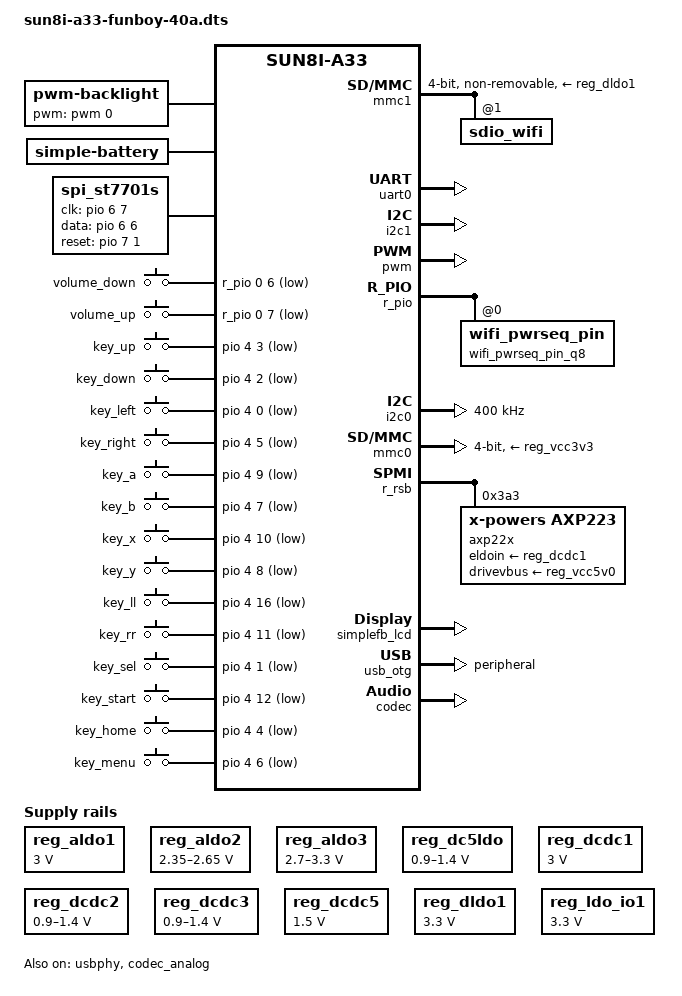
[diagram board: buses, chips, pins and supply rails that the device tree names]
/dts-v1/;
#include <dt-bindings/gpio/gpio.h>
#include <dt-bindings/input/input.h>
#include <dt-bindings/pwm/pwm.h>
#include "sun8i-a33.dtsi"
#include "sunxi-common-regulators.dtsi"

/ {
	aliases {
		serial0 = &uart0;
	};

	backlight: backlight {
		compatible = "pwm-backlight";
		pwms = <&pwm 0 50000 PWM_POLARITY_INVERTED>;
		brightness-levels = <0 10 20 30 40 50 60 70 80 90 100>;
		default-brightness-level = <8>;
	};

	chosen {
		stdout-path = "serial0:115200n8";
	};

	bat: battery {
		compatible = "simple-battery";
		constant_charge_current_max_microamp = <400000>;
	};

	st7701s {
		compatible = "spi_st7701s";
		cs-gpios = <&pio 6 10 GPIO_ACTIVE_HIGH>; //PG 10
		clk-gpios = <&pio 6 7 GPIO_ACTIVE_HIGH>;  //PG7
		data-gpios = <&pio 6 6 GPIO_ACTIVE_HIGH>;  //PG6
		reset-gpios = <&pio 7 1 GPIO_ACTIVE_HIGH>; /* PH1 */
		status = "okay";
	};

	wifi_pwrseq: wifi_pwrseq {
		compatible = "mmc-pwrseq-simple";
		pinctrl-names = "default";
		pinctrl-0 = <&wifi_pwrseq_pin_q8>;
		/* The esp8089 needs 200 ms after driving wifi-en high */
		post-power-on-delay-ms = <200>;
	};

	gpio-keys {
		compatible = "gpio-keys-polled";
		input-name = "gpio-keys";

		pinctrl-names = "default";
		pinctrl-0 = <&gpio_keys
					&gpio_key_l>;

		volume-down {
			label = "volume_down";
			gpios = <&r_pio 0 6 GPIO_ACTIVE_LOW>;
			linux,input-type = <1>;
			linux,code = <KEY_VOLUMEDOWN>;
		};

		volume-up {
			label = "volume_up";
			gpios = <&r_pio 0 7 GPIO_ACTIVE_LOW>;
			linux,input-type = <1>;
			linux,code = <KEY_VOLUMEUP>;
		};

		key-up {
			label = "key_up";
			gpios = <&pio 4 3 GPIO_ACTIVE_LOW>;
			linux,input-type = <1>;
			linux,code = <117>;
		};
		key-down {
			label = "key_down";
			gpios = <&pio 4 2 GPIO_ACTIVE_LOW>;
			linux,input-type = <1>;
			linux,code = <100>;
		};
		key-left {
			label = "key_left";
			gpios = <&pio 4 0 GPIO_ACTIVE_LOW>;
			linux,input-type = <1>;
			linux,code = <108>;
		};
		key-right {
			label = "key_right";
			gpios = <&pio 4 5 GPIO_ACTIVE_LOW>;
			linux,input-type = <1>;
			linux,code = <114>;
		};

		key-a {
			label = "key_a";
			gpios = <&pio 4 9 GPIO_ACTIVE_LOW>;
			linux,input-type = <1>;
			linux,code = <97>;
		};
		key-b {
			label = "key_b";
			gpios = <&pio 4 7 GPIO_ACTIVE_LOW>;
			linux,input-type = <1>;
			linux,code = <98>;
		};
		key-x {
			label = "key_x";
			gpios = <&pio 4 10 GPIO_ACTIVE_LOW>;
			linux,input-type = <1>;
			linux,code = <120>;//??109
		};
		key-y {
			label = "key_y";
			gpios = <&pio 4 8 GPIO_ACTIVE_LOW>;
			linux,input-type = <1>;
			linux,code = <121>;//? 110
		};
		key-ll {
			label = "key_ll";
			gpios = <&pio 4 16 GPIO_ACTIVE_LOW>;
			linux,input-type = <1>;
			linux,code = <109>;
		};

		key-rr {
			label = "key_rr";
			gpios = <&pio 4 11 GPIO_ACTIVE_LOW>;
			linux,input-type = <1>;
			linux,code = <110>;
		};

		key-sel {
			label = "key_sel";
			gpios = <&pio 4 1 GPIO_ACTIVE_LOW>;
			linux,input-type = <1>;
			linux,code = <107>;
		};
		key-start {
			label = "key_start";
			gpios = <&pio 4 12 GPIO_ACTIVE_LOW>;
			linux,input-type = <1>;
			linux,code = <115>;
		};
		key-home {
			label = "key_home";
			gpios = <&pio 4 4 GPIO_ACTIVE_LOW>;
			linux,input-type = <1>;
			linux,code = <102>;//home
		};
		key-menu {
			label = "key_menu";
			gpios = <&pio 4 6 GPIO_ACTIVE_LOW>;
			linux,input-type = <1>;
			linux,code = <139>; //menu
		};
	};
};

&mmc1 {
	pinctrl-names = "default";
	pinctrl-0 = <&mmc1_pins_a>;
	vmmc-supply = <&reg_dldo1>;
	mmc-pwrseq = <&wifi_pwrseq>;
	bus-width = <4>;
	non-removable;
	status = "okay";

	sdio_wifi: sdio_wifi@1 {
		reg = <1>;
	};
};

&uart0 {
	pinctrl-names = "default";
	pinctrl-0 = <&uart0_pins_b>;
	status = "okay";
};

&mmc1_pins_a {
	bias-pull-up;
};

&i2c1 {
	pinctrl-names = "default";
	pinctrl-0 = <&i2c1_pins_a>;
	status = "okay";
};

&pwm {
	pinctrl-names = "default";
	pinctrl-0 = <&pwm0_pins>;
	status = "okay";
};

&r_pio {
	wifi_pwrseq_pin_q8: wifi_pwrseq_pin@0 {
		pins = "PL11";
		function = "gpio_in";
		bias-pull-up;
	};
	gpio_key_l: gpio-key-l {
		pins = "PL6","PL7";
		function = "gpio_in";
		bias-pull-up;
	};
};

&i2c0 {
	clock-frequency = <400000>;
	pinctrl-names = "default";
	pinctrl-0 = <&i2c0_pins_a>;
	status = "okay";
};

&mmc0 {
	pinctrl-names = "default";
	pinctrl-names = "default";
	pinctrl-0 = <&mmc0_pins_a>;
	vmmc-supply = <&reg_vcc3v3>;
	vqmmc-supply = <&reg_vcc3v3>;
	broken-cd;
	bus-width = <4>;
	status = "okay";
};

&pio {
	/*
	上 PE3  下 PE2   左 PE0  右 PE5
	A PE9   B PE7   X PE10   Y PE8
	Sel PE1  Start PE12  home PE4  ... PE6
	LL PE16   RR PE11

	A0 B1 C2 D3 E4 F5 G6 H7 I8 J9 K10 L11
	*/
	gpio_keys: gpio-keys {
		pins = "PE0", "PE1", "PE2","PE3", "PE4", "PE5","PE6", "PE7", "PE8","PE9", "PE10", "PE11","PE12", "PE16";
		function = "gpio_in";
		bias-pull-up;
	};
};

&r_rsb {
	status = "okay";

	axp22x: pmic@3a3 {
		compatible = "x-powers,axp223";
		reg = <0x3a3>;
		interrupt-parent = <&nmi_intc>;
		interrupts = <0 IRQ_TYPE_LEVEL_LOW>;
		eldoin-supply = <&reg_dcdc1>;
		drivevbus-supply = <&reg_vcc5v0>;
		x-powers,drive-vbus-en;
	};
};

#include "axp223.dtsi"

&reg_aldo1 {
	regulator-always-on;
	regulator-min-microvolt = <3000000>;
	regulator-max-microvolt = <3000000>;
	regulator-name = "vcc-io";
};

&reg_aldo2 {
	regulator-always-on;
	regulator-min-microvolt = <2350000>;
	regulator-max-microvolt = <2650000>;
	regulator-name = "vdd-dll";
};

&reg_aldo3 {
	regulator-always-on;
	regulator-min-microvolt = <2700000>;
	regulator-max-microvolt = <3300000>;
	regulator-name = "vcc-pll-avcc";
};

&reg_dc1sw {
	regulator-name = "vcc-lcd";
};

&reg_dc5ldo {
	regulator-always-on;
	regulator-min-microvolt = <900000>;
	regulator-max-microvolt = <1400000>;
	regulator-name = "vdd-cpus";
};

&reg_dcdc1 {
	status="okay";
	regulator-always-on;
	regulator-min-microvolt = <3000000>;
	regulator-max-microvolt = <3000000>;
	regulator-name = "vcc-3v0";
};

&reg_dcdc2 {
	regulator-always-on;
	regulator-min-microvolt = <900000>;
	regulator-max-microvolt = <1400000>;
	regulator-name = "vdd-sys";
};

&reg_dcdc3 {
	regulator-always-on;
	regulator-min-microvolt = <900000>;
	regulator-max-microvolt = <1400000>;
	regulator-name = "vdd-cpu";
};

&reg_dcdc5 {
	regulator-always-on;
	regulator-min-microvolt = <1500000>;
	regulator-max-microvolt = <1500000>;
	regulator-name = "vcc-dram";
};

&reg_dldo1 {
	regulator-min-microvolt = <3300000>;
	regulator-max-microvolt = <3300000>;
	regulator-name = "vcc-wifi";
};

&reg_drivevbus {
	regulator-name = "usb0-vbus";
	status = "okay";
};

&reg_ldo_io1 {
	regulator-min-microvolt = <3300000>;
	regulator-max-microvolt = <3300000>;
	regulator-name = "vcc-touchscreen";
	status = "okay";
};

&reg_rtc_ldo {
	regulator-name = "vcc-rtc";
};

&cpu0 {
	cpu-supply = <&reg_dcdc2>;
};

&r_uart {
	pinctrl-names = "default";
	pinctrl-0 = <&r_uart_pins_a>;
	status = "disabled";
};

&simplefb_lcd {
	status = "okay";
    vcc-lcd-supply = <&reg_vcc5v0>;
};

&usb_otg {
	dr_mode = "peripheral";
	status = "okay";
};

&usbphy {
	// usb0_vbus_power-supply = <&usb_power_supply>;
	// usb0_vbus-supply = <&reg_drivevbus>;
	vcc = <&reg_vcc5v0>;
	usb0_vbus-supply = <&reg_vcc5v0>;
	phy-supply = <&reg_vcc5v0>;
	status = "okay";
};

&reg_vcc5v0 {
	regulator-always-on;
	status = "okay";
};
&codec {
	allwinner,audio-routing =
		"Headphone", "HP",
		"Headphone", "HPCOM",
		"MIC1", "Mic",
		"Mic",  "HBIAS";
	status = "okay";
};

&ac_power_supply{
	status="okay";
};

&battery_power_supply{
	status="okay";
};
&usb_power_supply{
	status="okay";
};

&reg_vcc3v0 {
	regulator-always-on;
	status = "okay";
};

&reg_vcc3v3 {
	regulator-always-on;
	status = "okay";
};
&codec_analog {
	status = "okay";
};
